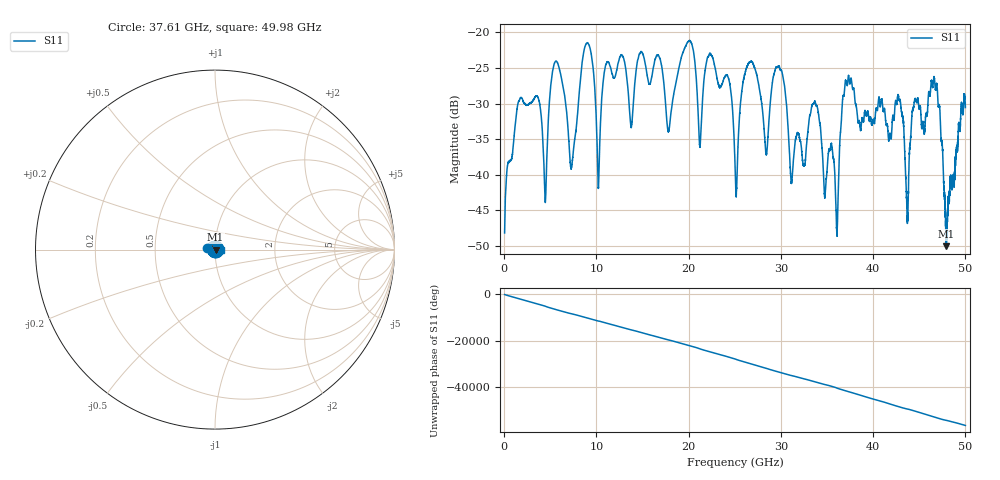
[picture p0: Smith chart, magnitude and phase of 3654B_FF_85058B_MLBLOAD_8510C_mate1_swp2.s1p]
!Created with skrf (http://scikit-rf.org).
# Hz S RI R 50.0
!freq ReS11 ImS11
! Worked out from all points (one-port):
!   10001 points, 45 MHz to 50 GHz, reference 50 ohm
!   lowest |S11| = -50.0 dB at 47.92 GHz (marker M1), VSWR 1.01, Z = 50.3 + j0.0368 ohm
!   |S11| at or under -10 dB: start of sweep to end of sweep
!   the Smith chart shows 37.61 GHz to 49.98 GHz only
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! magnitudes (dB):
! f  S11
! 45 MHz  -48.2
! 1.649 GHz  -29.5
! 4.446 GHz  -43.7
! 5.295 GHz  -25.1
! 6.289 GHz  -27.1
! 7.328 GHz  -38.7
! 9.152 GHz  -21.7
! 10.23 GHz  -41.8
! 12.53 GHz  -23.5
! 13.76 GHz  -33.3
! 14.79 GHz  -22.8
! 17.81 GHz  -33.9
! 18.78 GHz  -26.0
! 24.19 GHz  -26.1
! 25.02 GHz  -38.6
! 26.74 GHz  -24.1
! 28.4 GHz  -37.1
! 29.99 GHz  -25.2
! 31.27 GHz  -39.5
! 33.71 GHz  -29.7
! 36.06 GHz  -48.4
! 37.51 GHz  -27.1
! 42.82 GHz  -29.6
! 43.76 GHz  -45.9
! 44.43 GHz  -30.1
! 46.72 GHz  -27.6
! 47.92 GHz  -50.0
! 50 GHz  -30.6
